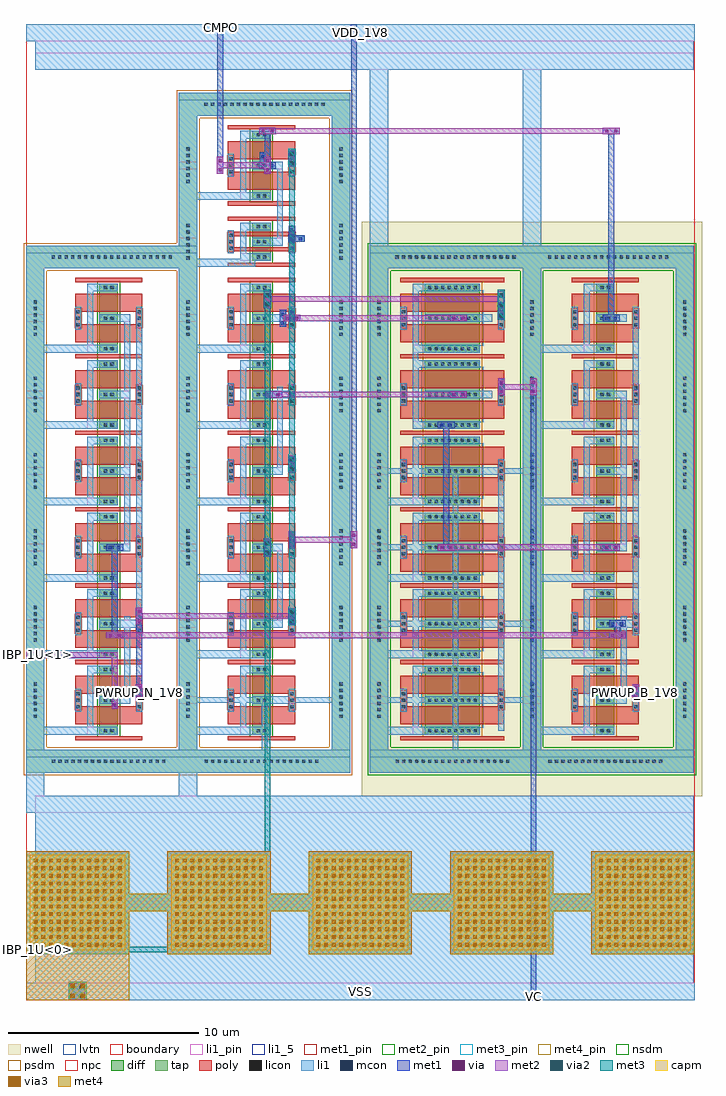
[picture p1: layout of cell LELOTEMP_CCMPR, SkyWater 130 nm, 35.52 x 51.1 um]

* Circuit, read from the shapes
.subckt LELOTEMP_CCMPR CMPO IBP_1U<0> IBP_1U<1> PWRUP_B_1V8 PWRUP_N_1V8 RST VC VDD_1V8 VSS
XM1 IBP_1U<1> PWRUP_N_1V8 VSS VSS sky130_fd_pr__nfet_01v8 w=0.96 l=0.94 m=2
XM2 IBP_1U<1> IBP_1U<1> VSS VSS sky130_fd_pr__nfet_01v8 w=0.96 l=0.94 m=2
XM3 LELOTEMP_CCMPR_CMP_1/LELOTEMP_CMPR_0/LELOTEMP_CMPR_N_MIRR_BIAS_0/VBP2 IBP_1U<1> VSS VSS sky130_fd_pr__nfet_01v8 w=0.96 l=0.94 m=8
XM4 VSS VSS VSS VSS sky130_fd_pr__nfet_01v8 w=0.96 l=0.94 m=2
XM5 IBP_1U<0> PWRUP_N_1V8 VSS VSS sky130_fd_pr__nfet_01v8 w=0.96 l=0.94 m=2
XM6 IBP_1U<0> RST VSS VSS sky130_fd_pr__nfet_01v8 w=0.96 l=0.94 m=2
XM7 LELOTEMP_CCMPR_CMP_1/LELOTEMP_CMPR_0/LELOTEMP_CMPR_N_MIRR_LOAD_1/VBN1 PWRUP_N_1V8 VSS VSS sky130_fd_pr__nfet_01v8 w=0.96 l=0.94 m=2
XM8 LELOTEMP_CCMPR_CMP_1/LELOTEMP_CMPR_0/LELOTEMP_CMPR_N_MIRR_LOAD_1/VBN1 LELOTEMP_CCMPR_CMP_1/LELOTEMP_CMPR_0/LELOTEMP_CMPR_N_MIRR_LOAD_1/VBN1 VSS VSS sky130_fd_pr__nfet_01v8 w=0.96 l=0.94 m=2
XM9 LELOTEMP_CCMPR_CMP_1/LELOTEMP_CMPR_0/LELOTEMP_CMPR_N_MIRR_LOAD_1/VO1 LELOTEMP_CCMPR_CMP_1/LELOTEMP_CMPR_0/LELOTEMP_CMPR_N_MIRR_LOAD_1/VBN1 VSS VSS sky130_fd_pr__nfet_01v8 w=0.96 l=0.94 m=2
XM10 CMPO LELOTEMP_CCMPR_CMP_1/LELOTEMP_CMPR_0/LELOTEMP_CMPR_N_MIRR_LOAD_1/VO1 VSS VSS sky130_fd_pr__nfet_01v8 w=0.96 l=0.22 m=2
XM11 CMPO PWRUP_N_1V8 VSS VSS sky130_fd_pr__nfet_01v8 w=0.96 l=0.94 m=2
XM12 VDD_1V8 VDD_1V8 VDD_1V8 VDD_1V8 sky130_fd_pr__pfet_01v8_lvt w=2.88 l=0.94 m=8
XM13 LELOTEMP_CCMPR_CMP_1/LELOTEMP_CMPR_0/LELOTEMP_CMPR_N_MIRR_LOAD_1/VBN1 VC LELOTEMP_CCMPR_CMP_1/LELOTEMP_CMPR_0/LELOTEMP_CMPR_P_DIFF_2/VS VDD_1V8 sky130_fd_pr__pfet_01v8_lvt w=2.88 l=0.94 m=2
XM14 LELOTEMP_CCMPR_CMP_1/LELOTEMP_CMPR_0/LELOTEMP_CMPR_N_MIRR_LOAD_1/VO1 IBP_1U<0> LELOTEMP_CCMPR_CMP_1/LELOTEMP_CMPR_0/LELOTEMP_CMPR_P_DIFF_2/VS VDD_1V8 sky130_fd_pr__pfet_01v8_lvt w=2.88 l=0.94 m=2
XM15 LELOTEMP_CCMPR_CMP_1/LELOTEMP_CMPR_0/LELOTEMP_CMPR_N_MIRR_BIAS_0/VBP2 PWRUP_B_1V8 VDD_1V8 VDD_1V8 sky130_fd_pr__pfet_01v8 w=0.96 l=0.94 m=2
XM16 LELOTEMP_CCMPR_CMP_1/LELOTEMP_CMPR_0/LELOTEMP_CMPR_N_MIRR_BIAS_0/VBP2 LELOTEMP_CCMPR_CMP_1/LELOTEMP_CMPR_0/LELOTEMP_CMPR_N_MIRR_BIAS_0/VBP2 VDD_1V8 VDD_1V8 sky130_fd_pr__pfet_01v8 w=0.96 l=0.94 m=2
XM17 LELOTEMP_CCMPR_CMP_1/LELOTEMP_CMPR_0/LELOTEMP_CMPR_P_DIFF_2/VS LELOTEMP_CCMPR_CMP_1/LELOTEMP_CMPR_0/LELOTEMP_CMPR_N_MIRR_BIAS_0/VBP2 VDD_1V8 VDD_1V8 sky130_fd_pr__pfet_01v8 w=0.96 l=0.94 m=6
XM18 CMPO LELOTEMP_CCMPR_CMP_1/LELOTEMP_CMPR_0/LELOTEMP_CMPR_N_MIRR_BIAS_0/VBP2 VDD_1V8 VDD_1V8 sky130_fd_pr__pfet_01v8 w=0.96 l=0.94 m=2
XC19 VSS IBP_1U<0> sky130_fd_pr__cap_mim_m3_1 w=5 l=5 m=5
.ends

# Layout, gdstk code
import gdstk
lib = gdstk.Library(unit=1e-6, precision=1e-09)
def R(c, l, rs):  # rectangles x0, y0, x1, y1
    for r in rs: c.add(gdstk.rectangle(r[:2], r[2:], *l))
def A(c, l, x, y, w, h, nx, ny, dx, dy):  # array of equal rectangles
    R(c, l, [(x+i*dx, y+j*dy, x+i*dx+w, y+j*dy+h) for i in range(nx) for j in range(ny)])
nwell = (64, 20)
diff = (65, 20)
tap = (65, 44)
poly = (66, 20)
licon = (66, 44)
li1_5 = (67, 5)
li1_pin = (67, 16)
li1 = (67, 20)
mcon = (67, 44)
met1_pin = (68, 16)
met1 = (68, 20)
via = (68, 44)
met2_pin = (69, 16)
met2 = (69, 20)
via2 = (69, 44)
met3_pin = (70, 16)
met3 = (70, 20)
via3 = (70, 44)
met4_pin = (71, 16)
met4 = (71, 20)
capm = (89, 44)
nsdm = (93, 44)
psdm = (94, 20)
npc = (95, 20)
lvtn = (125, 44)
boundary = (235, 4)

jnwtr_capx1 = lib.new_cell('JNWTR_CAPX1')
R(jnwtr_capx1, met3_pin, [(0,0,5.4,0.5)])
R(jnwtr_capx1, met3, [(0,0,5.4,5.4)])
A(jnwtr_capx1, via3, 0.4, 0.4, 0.2, 0.2, 12, 12, 0.4, 0.4)
R(jnwtr_capx1, met4_pin, [(0,0,5.4,0.5)])
R(jnwtr_capx1, met4, [(0,0,5.4,5.4)])
R(jnwtr_capx1, capm, [(0.2,0.2,5.2,5.2)])
R(jnwtr_capx1, boundary, [(0,0,5.4,5.4)])
jnwtr_capx1.add(gdstk.Label('A', (2.7,0.25), layer=70, texttype=5))
jnwtr_capx1.add(gdstk.Label('B', (2.7,0.25), layer=71, texttype=5))

lelotemp_ccmpr_caps = lib.new_cell('LELOTEMP_CCMPR_CAPS')
R(lelotemp_ccmpr_caps, met3_pin, [(0,0,5.4,0.5)])
R(lelotemp_ccmpr_caps, met3, [(0,0,5.4,0.5), (2,2.25,33,3.15)])
R(lelotemp_ccmpr_caps, met4_pin, [(0,0,5.4,0.5)])
R(lelotemp_ccmpr_caps, met4, [(0,0,5.4,0.5), (2,2.25,33,3.15)])
R(lelotemp_ccmpr_caps, boundary, [(0,0,35,5.4)])
lelotemp_ccmpr_caps.add(gdstk.Reference(jnwtr_capx1, (0,0)))
lelotemp_ccmpr_caps.add(gdstk.Reference(jnwtr_capx1, (7.4,0)))
lelotemp_ccmpr_caps.add(gdstk.Reference(jnwtr_capx1, (14.8,0)))
lelotemp_ccmpr_caps.add(gdstk.Reference(jnwtr_capx1, (22.2,0)))
lelotemp_ccmpr_caps.add(gdstk.Reference(jnwtr_capx1, (29.6,0)))
lelotemp_ccmpr_caps.add(gdstk.Label('IBP_1U<0>', (2.7,0.25), layer=70, texttype=5))
lelotemp_ccmpr_caps.add(gdstk.Label('VSS', (2.7,0.25), layer=71, texttype=5))

reyatr_nch_2ctaptop = lib.new_cell('REYATR_NCH_2CTAPTOP')
R(reyatr_nch_2ctaptop, tap, [(-0.48,-0.2,0.48,0.6), (7.52,-0.2,8.48,0.6), (-0.48,0.6,8.48,1.8)])
A(reyatr_nch_2ctaptop, licon, 0.855, 1.115, 0.17, 0.17, 19, 1, 0.34, 0)
R(reyatr_nch_2ctaptop, li1_5, [(-0.48,1.4,8.48,1.8)])
R(reyatr_nch_2ctaptop, li1, [(-0.48,-0.2,0.48,0.6), (7.52,-0.2,8.48,0.6), (-0.48,0.6,8.48,1.8)])
R(reyatr_nch_2ctaptop, psdm, [(-0.605,-0.325,0.605,0.475), (7.395,-0.325,8.605,0.475), (-0.605,0.475,8.605,1.925)])
R(reyatr_nch_2ctaptop, boundary, [(0,0,8,2.4)])
reyatr_nch_2ctaptop.add(gdstk.Label('B', (4,1.6), layer=67, texttype=5))

reyatr_nch_2ctapbot = lib.new_cell('REYATR_NCH_2CTAPBOT')
R(reyatr_nch_2ctapbot, tap, [(-0.48,0.6,8.48,1.8), (-0.48,1.8,0.48,2.6), (7.52,1.8,8.48,2.6)])
A(reyatr_nch_2ctapbot, licon, 0.865, 1.115, 0.17, 0.17, 18, 1, 0.34, 0)
R(reyatr_nch_2ctapbot, li1_5, [(-0.48,1.4,8.48,1.8)])
R(reyatr_nch_2ctapbot, li1, [(-0.48,0.6,8.48,1.8), (-0.48,1.8,0.48,2.6), (7.52,1.8,8.48,2.6)])
R(reyatr_nch_2ctapbot, psdm, [(-0.605,0.475,8.605,1.925), (-0.605,1.925,0.605,2.725), (7.395,1.925,8.605,2.725)])
R(reyatr_nch_2ctapbot, boundary, [(0,0,8,2.4)])
reyatr_nch_2ctapbot.add(gdstk.Label('B', (4,1.6), layer=67, texttype=5))

reyatr_nch_2c5f0 = lib.new_cell('REYATR_NCH_2C5F0')
R(reyatr_nch_2c5f0, diff, [(3.36,0.2,4.32,3.8)])
R(reyatr_nch_2c5f0, tap, [(-0.48,-0.2,0.48,4.2), (7.52,-0.2,8.48,4.2)])
R(reyatr_nch_2c5f0, poly, [(2.08,-0.11,5.6,0.11), (2.08,0.73,5.6,1.67), (2.08,1.67,2.4,2.33), (5.28,1.67,5.6,2.33), (2.08,2.33,5.6,3.27), (2.08,3.89,5.6,4.11)])
A(reyatr_nch_2c5f0, licon, 3.585, 0.315, 0.17, 0.17, 1, 3, 0, 1.6)
A(reyatr_nch_2c5f0, licon, 3.925, 0.315, 0.17, 0.17, 1, 3, 0, 1.6)
A(reyatr_nch_2c5f0, licon, -0.085, 1.065, 0.17, 0.17, 1, 6, 0, 0.34)
A(reyatr_nch_2c5f0, licon, 7.915, 1.065, 0.17, 0.17, 1, 6, 0, 0.34)
A(reyatr_nch_2c5f0, licon, 2.155, 1.575, 0.17, 0.17, 1, 3, 0, 0.34)
A(reyatr_nch_2c5f0, licon, 5.355, 1.575, 0.17, 0.17, 1, 3, 0, 0.34)
R(reyatr_nch_2c5f0, li1_pin, [(2.72,0.2,4.32,0.6), (-0.48,1.8,0.48,2.2), (3.36,1.8,4.96,2.2), (5.28,2.2,5.6,2.6)])
R(reyatr_nch_2c5f0, li1, [(-0.48,-0.2,0.48,4.2), (7.52,-0.2,8.48,4.2), (2.72,0.2,4.32,0.6), (2.72,0.6,3.04,3.4), (2.08,1.4,2.4,2.6), (5.28,1.4,5.6,2.6), (3.36,1.8,4.96,2.2), (2.72,3.4,4.32,3.8)])
R(reyatr_nch_2c5f0, nsdm, [(3.235,0.075,4.445,3.925)])
R(reyatr_nch_2c5f0, psdm, [(-0.605,-0.325,0.605,4.325), (7.395,-0.325,8.605,4.325)])
R(reyatr_nch_2c5f0, npc, [(2.055,1.475,2.425,2.525), (5.255,1.475,5.625,2.525)])
R(reyatr_nch_2c5f0, boundary, [(0,0,8,4)])
reyatr_nch_2c5f0.add(gdstk.Label('D', (4.16,2), layer=67, texttype=5))
reyatr_nch_2c5f0.add(gdstk.Label('G', (5.44,2.4), layer=67, texttype=5))
reyatr_nch_2c5f0.add(gdstk.Label('S', (3.52,0.4), layer=67, texttype=5))
reyatr_nch_2c5f0.add(gdstk.Label('B', (0,2), layer=67, texttype=5))

reyatr_nch_2c5f0d = lib.new_cell('REYATR_NCH_2C5F0D')
R(reyatr_nch_2c5f0d, diff, [(3.36,0.2,4.32,3.8)])
R(reyatr_nch_2c5f0d, tap, [(-0.48,-0.2,0.48,4.2), (7.52,-0.2,8.48,4.2)])
R(reyatr_nch_2c5f0d, poly, [(2.08,-0.11,5.6,0.11), (2.08,0.73,5.6,1.67), (2.08,1.67,2.4,2.33), (5.28,1.67,5.6,2.33), (2.08,2.33,5.6,3.27), (2.08,3.89,5.6,4.11)])
A(reyatr_nch_2c5f0d, licon, 3.585, 0.315, 0.17, 0.17, 1, 3, 0, 1.6)
A(reyatr_nch_2c5f0d, licon, 3.925, 0.315, 0.17, 0.17, 1, 3, 0, 1.6)
A(reyatr_nch_2c5f0d, licon, -0.085, 1.065, 0.17, 0.17, 1, 6, 0, 0.34)
A(reyatr_nch_2c5f0d, licon, 7.915, 1.065, 0.17, 0.17, 1, 6, 0, 0.34)
A(reyatr_nch_2c5f0d, licon, 2.155, 1.575, 0.17, 0.17, 1, 3, 0, 0.34)
A(reyatr_nch_2c5f0d, licon, 5.355, 1.575, 0.17, 0.17, 1, 3, 0, 0.34)
R(reyatr_nch_2c5f0d, li1_pin, [(2.72,0.2,4.32,0.6), (-0.48,1.8,0.48,2.2), (3.36,1.8,5.6,2.2), (5.28,2.2,5.6,2.6)])
R(reyatr_nch_2c5f0d, li1, [(-0.48,-0.2,0.48,4.2), (7.52,-0.2,8.48,4.2), (2.72,0.2,4.32,0.6), (2.72,0.6,3.04,3.4), (2.08,1.4,2.4,2.6), (5.28,1.4,5.6,1.8), (3.36,1.8,5.6,2.2), (5.28,2.2,5.6,2.6), (2.72,3.4,4.32,3.8)])
R(reyatr_nch_2c5f0d, nsdm, [(3.235,0.075,4.445,3.925)])
R(reyatr_nch_2c5f0d, psdm, [(-0.605,-0.325,0.605,4.325), (7.395,-0.325,8.605,4.325)])
R(reyatr_nch_2c5f0d, npc, [(2.055,1.475,2.425,2.525), (5.255,1.475,5.625,2.525)])
R(reyatr_nch_2c5f0d, boundary, [(0,0,8,4)])
reyatr_nch_2c5f0d.add(gdstk.Label('D', (4.48,2), layer=67, texttype=5))
reyatr_nch_2c5f0d.add(gdstk.Label('G', (5.44,2.4), layer=67, texttype=5))
reyatr_nch_2c5f0d.add(gdstk.Label('S', (3.52,0.4), layer=67, texttype=5))
reyatr_nch_2c5f0d.add(gdstk.Label('B', (0,2), layer=67, texttype=5))

lelotemp_cmpr_n_mirr_bia = lib.new_cell('LELOTEMP_CMPR_N_MIRR_BIAS')
R(lelotemp_cmpr_n_mirr_bia, li1_pin, [(-0.48,4.2,0.48,4.6), (3.36,4.2,4.96,4.6), (5.28,4.6,5.6,5), (3.36,12.2,4.96,12.6)])
A(lelotemp_cmpr_n_mirr_bia, li1, 0, 2.6, 3.52, 0.4, 1, 6, 0, 4)
R(lelotemp_cmpr_n_mirr_bia, li1, [(-0.48,4.2,0.48,4.6), (3.36,4.2,4.96,4.6), (4.66,4.6,4.96,8.8), (5.28,4.6,5.6,5), (5.29,8.4,5.59,24.8), (3.36,12.2,4.96,12.6), (4.66,12.6,4.96,24.6)])
A(lelotemp_cmpr_n_mirr_bia, nsdm, 3.235, 6.325, 1.21, 0.15, 1, 5, 0, 4)
R(lelotemp_cmpr_n_mirr_bia, boundary, [(0,0,8,28.8)])
lelotemp_cmpr_n_mirr_bia.add(gdstk.Reference(reyatr_nch_2ctaptop, (0,26.4)))
lelotemp_cmpr_n_mirr_bia.add(gdstk.Reference(reyatr_nch_2ctapbot, (0,0)))
lelotemp_cmpr_n_mirr_bia.add(gdstk.Reference(reyatr_nch_2c5f0, (0,22.4)))
lelotemp_cmpr_n_mirr_bia.add(gdstk.Reference(reyatr_nch_2c5f0, (0,18.4)))
lelotemp_cmpr_n_mirr_bia.add(gdstk.Reference(reyatr_nch_2c5f0, (0,14.4)))
lelotemp_cmpr_n_mirr_bia.add(gdstk.Reference(reyatr_nch_2c5f0, (0,10.4)))
lelotemp_cmpr_n_mirr_bia.add(gdstk.Reference(reyatr_nch_2c5f0d, (0,6.4)))
lelotemp_cmpr_n_mirr_bia.add(gdstk.Reference(reyatr_nch_2c5f0, (0,2.4)))
lelotemp_cmpr_n_mirr_bia.add(gdstk.Label('IBP_1U', (4.16,4.4), layer=67, texttype=5))
lelotemp_cmpr_n_mirr_bia.add(gdstk.Label('PWRUP_N_1V8', (5.44,4.8), layer=67, texttype=5))
lelotemp_cmpr_n_mirr_bia.add(gdstk.Label('VBP2', (4.16,12.4), layer=67, texttype=5))
lelotemp_cmpr_n_mirr_bia.add(gdstk.Label('VSS', (0,4.4), layer=67, texttype=5))

reyatr_nch_2c1f2 = lib.new_cell('REYATR_NCH_2C1F2')
R(reyatr_nch_2c1f2, diff, [(3.36,1,4.32,3)])
R(reyatr_nch_2c1f2, tap, [(-0.48,-0.2,0.48,4.2), (7.52,-0.2,8.48,4.2)])
A(reyatr_nch_2c1f2, poly, 2.08, -0.11, 3.52, 0.22, 1, 6, 0, 0.8)
R(reyatr_nch_2c1f2, poly, [(2.08,1.4,2.4,1.49), (5.28,1.4,5.6,1.49), (2.08,1.71,2.4,2.29), (5.28,1.71,5.6,2.29), (2.08,2.51,2.4,2.6), (5.28,2.51,5.6,2.6)])
A(reyatr_nch_2c1f2, licon, -0.085, 1.065, 0.17, 0.17, 1, 6, 0, 0.34)
A(reyatr_nch_2c1f2, licon, 7.915, 1.065, 0.17, 0.17, 1, 6, 0, 0.34)
A(reyatr_nch_2c1f2, licon, 3.585, 1.115, 0.17, 0.17, 1, 3, 0, 0.8)
A(reyatr_nch_2c1f2, licon, 3.925, 1.115, 0.17, 0.17, 1, 3, 0, 0.8)
A(reyatr_nch_2c1f2, licon, 2.155, 1.575, 0.17, 0.17, 1, 3, 0, 0.34)
A(reyatr_nch_2c1f2, licon, 5.355, 1.575, 0.17, 0.17, 1, 3, 0, 0.34)
R(reyatr_nch_2c1f2, li1_pin, [(2.72,1,4.32,1.4), (-0.48,1.8,0.48,2.2), (3.36,1.8,4.96,2.2), (5.28,2.2,5.6,2.6)])
R(reyatr_nch_2c1f2, li1, [(-0.48,-0.2,0.48,4.2), (7.52,-0.2,8.48,4.2), (2.72,1,4.32,1.4), (2.08,1.4,2.4,2.6), (2.72,1.4,3.04,2.6), (5.28,1.4,5.6,2.6), (3.36,1.8,4.96,2.2), (2.72,2.6,4.32,3)])
R(reyatr_nch_2c1f2, nsdm, [(3.235,0.875,4.445,3.125)])
R(reyatr_nch_2c1f2, psdm, [(-0.605,-0.325,0.605,4.325), (7.395,-0.325,8.605,4.325)])
R(reyatr_nch_2c1f2, npc, [(2.055,1.475,2.425,2.525), (5.255,1.475,5.625,2.525)])
R(reyatr_nch_2c1f2, boundary, [(0,0,8,4)])
reyatr_nch_2c1f2.add(gdstk.Label('D', (4.16,2), layer=67, texttype=5))
reyatr_nch_2c1f2.add(gdstk.Label('G', (5.44,2.4), layer=67, texttype=5))
reyatr_nch_2c1f2.add(gdstk.Label('S', (3.52,1.2), layer=67, texttype=5))
reyatr_nch_2c1f2.add(gdstk.Label('B', (0,2), layer=67, texttype=5))

lelotemp_cmpr_n_mirr_loa = lib.new_cell('LELOTEMP_CMPR_N_MIRR_LOAD')
R(lelotemp_cmpr_n_mirr_loa, li1_pin, [(-0.48,4.2,0.48,4.6), (5.28,8.6,5.6,9), (3.36,12.2,4.96,12.6), (5.28,12.6,5.6,13), (3.36,20.2,5.6,20.6), (5.28,28.6,5.6,29), (3.36,32.2,4.96,32.6)])
A(lelotemp_cmpr_n_mirr_loa, li1, 0, 2.6, 3.52, 0.4, 1, 6, 0, 4)
R(lelotemp_cmpr_n_mirr_loa, li1, [(3.85,1.2,4.15,4.25), (-0.48,4.2,0.48,4.25), (-0.48,4.25,8,4.55), (-0.48,4.55,0.48,4.6), (4.66,8.2,4.96,12.2), (5.25,8.32,5.57,8.6), (5.25,8.6,5.6,9), (5.25,9,5.57,9.16), (3.36,12.2,4.96,12.6), (5.28,12.6,5.6,13), (5.25,16.32,5.57,17.16), (4.66,16.4,4.96,20.2), (3.36,20.2,5.6,20.6), (4.66,20.6,4.96,20.8), (5.29,20.6,5.59,24.8), (4.79,23.96,5.11,24.8), (0,27.1,3.52,27.5), (4.66,28.2,4.96,32.2), (5.27,28.36,5.59,28.6), (5.27,28.6,5.6,29), (5.27,29,5.59,29.2), (0,30.6,3.52,31), (3.36,32.2,4.96,32.6), (5.25,32.32,5.57,33.16)])
R(lelotemp_cmpr_n_mirr_loa, mcon, [(5.325,8.425,5.495,8.595), (5.325,8.885,5.495,9.055), (5.325,16.425,5.495,16.595), (5.325,16.885,5.495,17.055), (4.865,24.065,5.035,24.235), (4.865,24.525,5.035,24.695), (5.345,28.465,5.515,28.635), (5.345,28.925,5.515,29.095), (5.325,32.425,5.495,32.595), (5.325,32.885,5.495,33.055)])
R(lelotemp_cmpr_n_mirr_loa, met1, [(5.25,8.32,5.59,9.2), (5.25,16.32,5.59,17.2), (4.79,23.96,5.13,24.25), (4.79,24.25,5.59,24.55), (4.79,24.55,5.13,24.84), (5.29,24.55,5.59,28.36), (5.27,28.36,5.61,29.24), (5.25,32.32,5.59,33.2)])
R(lelotemp_cmpr_n_mirr_loa, via, [(5.345,8.445,5.495,8.595), (5.345,8.925,5.495,9.075), (5.345,16.445,5.495,16.595), (5.345,16.925,5.495,17.075), (5.345,32.445,5.495,32.595), (5.345,32.925,5.495,33.075)])
R(lelotemp_cmpr_n_mirr_loa, met2, [(5.25,8.32,5.59,9.2), (5.25,16.32,5.59,17.2), (5.25,32.32,5.59,33.2)])
R(lelotemp_cmpr_n_mirr_loa, via2, [(5.32,8.42,5.52,8.62), (5.32,8.9,5.52,9.1), (5.32,16.42,5.52,16.62), (5.32,16.9,5.52,17.1), (5.32,32.42,5.52,32.62), (5.32,32.9,5.52,33.1)])
R(lelotemp_cmpr_n_mirr_loa, met3, [(5.25,8.32,5.63,9.28), (5.29,9.28,5.59,16.32), (5.25,16.32,5.63,17.28), (5.29,17.28,5.59,32.32), (5.25,32.32,5.63,33.28)])
A(lelotemp_cmpr_n_mirr_loa, nsdm, 3.235, 6.325, 1.21, 0.15, 1, 5, 0, 4)
R(lelotemp_cmpr_n_mirr_loa, boundary, [(0,0,8,36.8)])
lelotemp_cmpr_n_mirr_loa.add(gdstk.Reference(reyatr_nch_2ctapbot, (0,0)))
lelotemp_cmpr_n_mirr_loa.add(gdstk.Reference(reyatr_nch_2c5f0d, (0,2.4)))
lelotemp_cmpr_n_mirr_loa.add(gdstk.Reference(reyatr_nch_2c5f0, (0,10.4)))
lelotemp_cmpr_n_mirr_loa.add(gdstk.Reference(reyatr_nch_2c5f0, (0,6.4)))
lelotemp_cmpr_n_mirr_loa.add(gdstk.Reference(reyatr_nch_2c5f0, (0,14.4)))
lelotemp_cmpr_n_mirr_loa.add(gdstk.Reference(reyatr_nch_2c5f0d, (0,18.4)))
lelotemp_cmpr_n_mirr_loa.add(gdstk.Reference(reyatr_nch_2c5f0, (0,22.4)))
lelotemp_cmpr_n_mirr_loa.add(gdstk.Reference(reyatr_nch_2c1f2, (0,26.4)))
lelotemp_cmpr_n_mirr_loa.add(gdstk.Reference(reyatr_nch_2c5f0, (0,30.4)))
lelotemp_cmpr_n_mirr_loa.add(gdstk.Reference(reyatr_nch_2ctaptop, (0,34.4)))
lelotemp_cmpr_n_mirr_loa.add(gdstk.Label('PWRUP_N_1V8', (5.44,8.8), layer=67, texttype=5))
lelotemp_cmpr_n_mirr_loa.add(gdstk.Label('RST', (5.44,12.8), layer=67, texttype=5))
lelotemp_cmpr_n_mirr_loa.add(gdstk.Label('VBN1', (4.48,20.4), layer=67, texttype=5))
lelotemp_cmpr_n_mirr_loa.add(gdstk.Label('VIP', (4.16,12.4), layer=67, texttype=5))
lelotemp_cmpr_n_mirr_loa.add(gdstk.Label('VO', (4.16,32.4), layer=67, texttype=5))
lelotemp_cmpr_n_mirr_loa.add(gdstk.Label('VO1', (5.44,28.8), layer=67, texttype=5))
lelotemp_cmpr_n_mirr_loa.add(gdstk.Label('VSS', (0,4.4), layer=67, texttype=5))

reyatr_lvt_pch_8c5f0d = lib.new_cell('REYATR_LVT_PCH_8C5F0D')
R(reyatr_lvt_pch_8c5f0d, nwell, [(-0.92,-0.64,8.92,4.64)])
R(reyatr_lvt_pch_8c5f0d, diff, [(2.4,0.2,5.28,3.8)])
R(reyatr_lvt_pch_8c5f0d, tap, [(-0.48,-0.2,0.48,4.2), (7.52,-0.2,8.48,4.2)])
R(reyatr_lvt_pch_8c5f0d, poly, [(1.12,-0.11,6.56,0.11), (1.12,0.73,6.56,1.67), (1.12,1.67,1.44,2.33), (6.24,1.67,6.56,2.33), (1.12,2.33,6.56,3.27), (1.12,3.89,6.56,4.11)])
A(reyatr_lvt_pch_8c5f0d, licon, 2.565, 0.315, 0.17, 0.17, 8, 3, 0.34, 1.6)
A(reyatr_lvt_pch_8c5f0d, licon, -0.085, 1.065, 0.17, 0.17, 1, 6, 0, 0.34)
A(reyatr_lvt_pch_8c5f0d, licon, 7.915, 1.065, 0.17, 0.17, 1, 6, 0, 0.34)
A(reyatr_lvt_pch_8c5f0d, licon, 1.195, 1.575, 0.17, 0.17, 1, 3, 0, 0.34)
A(reyatr_lvt_pch_8c5f0d, licon, 6.315, 1.575, 0.17, 0.17, 1, 3, 0, 0.34)
R(reyatr_lvt_pch_8c5f0d, li1_pin, [(1.76,0.2,5.28,0.6), (-0.48,1.8,0.48,2.2), (2.4,1.8,6.56,2.2), (6.24,2.2,6.56,2.6)])
R(reyatr_lvt_pch_8c5f0d, li1, [(-0.48,-0.2,0.48,4.2), (7.52,-0.2,8.48,4.2), (1.76,0.2,5.28,0.6), (1.76,0.6,2.08,3.4), (1.12,1.4,1.44,2.6), (6.24,1.4,6.56,1.8), (2.4,1.8,6.56,2.2), (6.24,2.2,6.56,2.6), (1.76,3.4,5.28,3.8)])
R(reyatr_lvt_pch_8c5f0d, nsdm, [(-0.605,-0.325,0.605,4.325), (7.395,-0.325,8.605,4.325)])
R(reyatr_lvt_pch_8c5f0d, psdm, [(2.275,0.075,5.405,3.925)])
R(reyatr_lvt_pch_8c5f0d, npc, [(1.095,1.475,1.465,2.525), (6.215,1.475,6.585,2.525)])
R(reyatr_lvt_pch_8c5f0d, lvtn, [(2.22,0.55,5.46,3.45)])
R(reyatr_lvt_pch_8c5f0d, boundary, [(0,0,8,4)])
reyatr_lvt_pch_8c5f0d.add(gdstk.Label('D', (4.48,2), layer=67, texttype=5))
reyatr_lvt_pch_8c5f0d.add(gdstk.Label('G', (6.4,2.4), layer=67, texttype=5))
reyatr_lvt_pch_8c5f0d.add(gdstk.Label('S', (3.52,0.4), layer=67, texttype=5))
reyatr_lvt_pch_8c5f0d.add(gdstk.Label('B', (0,2), layer=67, texttype=5))

reyatr_lvt_pch_8c5f0 = lib.new_cell('REYATR_LVT_PCH_8C5F0')
R(reyatr_lvt_pch_8c5f0, nwell, [(-0.92,-0.64,8.92,4.64)])
R(reyatr_lvt_pch_8c5f0, diff, [(2.4,0.2,5.28,3.8)])
R(reyatr_lvt_pch_8c5f0, tap, [(-0.48,-0.2,0.48,4.2), (7.52,-0.2,8.48,4.2)])
R(reyatr_lvt_pch_8c5f0, poly, [(1.12,-0.11,6.56,0.11), (1.12,0.73,6.56,1.67), (1.12,1.67,1.44,2.33), (6.24,1.67,6.56,2.33), (1.12,2.33,6.56,3.27), (1.12,3.89,6.56,4.11)])
A(reyatr_lvt_pch_8c5f0, licon, 2.565, 0.315, 0.17, 0.17, 8, 3, 0.34, 1.6)
A(reyatr_lvt_pch_8c5f0, licon, -0.085, 1.065, 0.17, 0.17, 1, 6, 0, 0.34)
A(reyatr_lvt_pch_8c5f0, licon, 7.915, 1.065, 0.17, 0.17, 1, 6, 0, 0.34)
A(reyatr_lvt_pch_8c5f0, licon, 1.195, 1.575, 0.17, 0.17, 1, 3, 0, 0.34)
A(reyatr_lvt_pch_8c5f0, licon, 6.315, 1.575, 0.17, 0.17, 1, 3, 0, 0.34)
R(reyatr_lvt_pch_8c5f0, li1_pin, [(1.76,0.2,5.28,0.6), (-0.48,1.8,0.48,2.2), (2.4,1.8,5.92,2.2), (6.24,2.2,6.56,2.6)])
R(reyatr_lvt_pch_8c5f0, li1, [(-0.48,-0.2,0.48,4.2), (7.52,-0.2,8.48,4.2), (1.76,0.2,5.28,0.6), (1.76,0.6,2.08,3.4), (1.12,1.4,1.44,2.6), (6.24,1.4,6.56,2.6), (2.4,1.8,5.92,2.2), (1.76,3.4,5.28,3.8)])
R(reyatr_lvt_pch_8c5f0, nsdm, [(-0.605,-0.325,0.605,4.325), (7.395,-0.325,8.605,4.325)])
R(reyatr_lvt_pch_8c5f0, psdm, [(2.275,0.075,5.405,3.925)])
R(reyatr_lvt_pch_8c5f0, npc, [(1.095,1.475,1.465,2.525), (6.215,1.475,6.585,2.525)])
R(reyatr_lvt_pch_8c5f0, lvtn, [(2.22,0.55,5.46,3.45)])
R(reyatr_lvt_pch_8c5f0, boundary, [(0,0,8,4)])
reyatr_lvt_pch_8c5f0.add(gdstk.Label('D', (4.16,2), layer=67, texttype=5))
reyatr_lvt_pch_8c5f0.add(gdstk.Label('G', (6.4,2.4), layer=67, texttype=5))
reyatr_lvt_pch_8c5f0.add(gdstk.Label('S', (3.52,0.4), layer=67, texttype=5))
reyatr_lvt_pch_8c5f0.add(gdstk.Label('B', (0,2), layer=67, texttype=5))

reyatr_pch_8ctapbot = lib.new_cell('REYATR_PCH_8CTAPBOT')
R(reyatr_pch_8ctapbot, nwell, [(-0.92,-0.64,8.92,3.04)])
R(reyatr_pch_8ctapbot, tap, [(-0.48,0.6,8.48,1.8), (-0.48,1.8,0.48,2.6), (7.52,1.8,8.48,2.6)])
A(reyatr_pch_8ctapbot, licon, 0.865, 1.115, 0.17, 0.17, 18, 1, 0.34, 0)
R(reyatr_pch_8ctapbot, li1_5, [(-0.48,1.4,8.48,1.8)])
R(reyatr_pch_8ctapbot, li1, [(-0.48,0.6,8.48,1.8), (-0.48,1.8,0.48,2.6), (7.52,1.8,8.48,2.6)])
R(reyatr_pch_8ctapbot, nsdm, [(-0.605,0.475,8.605,1.925), (-0.605,1.925,0.605,2.725), (7.395,1.925,8.605,2.725)])
R(reyatr_pch_8ctapbot, boundary, [(0,0,8,2.4)])
reyatr_pch_8ctapbot.add(gdstk.Label('B', (4,1.6), layer=67, texttype=5))

reyatr_pch_8ctaptop = lib.new_cell('REYATR_PCH_8CTAPTOP')
R(reyatr_pch_8ctaptop, nwell, [(-0.92,-0.64,8.92,3.04)])
R(reyatr_pch_8ctaptop, tap, [(-0.48,-0.2,0.48,0.6), (7.52,-0.2,8.48,0.6), (-0.48,0.6,8.48,1.8)])
A(reyatr_pch_8ctaptop, licon, 0.855, 1.115, 0.17, 0.17, 19, 1, 0.34, 0)
R(reyatr_pch_8ctaptop, li1_5, [(-0.48,1.4,8.48,1.8)])
R(reyatr_pch_8ctaptop, li1, [(-0.48,-0.2,0.48,0.6), (7.52,-0.2,8.48,0.6), (-0.48,0.6,8.48,1.8)])
R(reyatr_pch_8ctaptop, nsdm, [(-0.605,-0.325,0.605,0.475), (7.395,-0.325,8.605,0.475), (-0.605,0.475,8.605,1.925)])
R(reyatr_pch_8ctaptop, boundary, [(0,0,8,2.4)])
reyatr_pch_8ctaptop.add(gdstk.Label('B', (4,1.6), layer=67, texttype=5))

lelotemp_cmpr_p_diff = lib.new_cell('LELOTEMP_CMPR_P_DIFF')
R(lelotemp_cmpr_p_diff, li1_pin, [(1.76,18.6,5.28,19), (2.4,20.2,5.92,20.6), (6.24,20.6,6.56,21), (-0.48,24.2,0.48,24.6), (2.4,24.2,5.92,24.6), (6.24,24.6,6.56,25)])
A(lelotemp_cmpr_p_diff, li1, 0, 2.6, 3.52, 0.4, 1, 4, 0, 4)
A(lelotemp_cmpr_p_diff, li1, 0.18, 3, 0.3, 1.25, 1, 4, 0, 4)
A(lelotemp_cmpr_p_diff, li1, 0, 4.25, 8, 0.3, 1, 4, 0, 4)
A(lelotemp_cmpr_p_diff, li1, 0.18, 4.55, 0.3, 2.05, 1, 3, 0, 4)
A(lelotemp_cmpr_p_diff, li1, 3.85, 4.55, 0.3, 3.7, 1, 3, 0, 4)
A(lelotemp_cmpr_p_diff, li1, 6.25, 4.55, 0.3, 3.7, 1, 3, 0, 4)
R(lelotemp_cmpr_p_diff, li1, [(3.85,1.2,4.15,4.25), (6.25,2.8,6.55,4.25), (0.18,16.55,0.48,24.2), (6.25,16.55,6.55,16.8), (1.76,18.6,5.28,19), (1.76,19,2.06,23), (2.4,20.2,5.92,20.6), (6.24,20.6,6.56,21), (-0.48,24.2,0.48,24.6), (2.4,24.2,5.92,24.6), (6.24,24.6,6.56,25)])
A(lelotemp_cmpr_p_diff, psdm, 2.275, 6.325, 3.13, 0.15, 1, 5, 0, 4)
R(lelotemp_cmpr_p_diff, boundary, [(0,0,8,28.8)])
lelotemp_cmpr_p_diff.add(gdstk.Reference(reyatr_lvt_pch_8c5f0d, (0,2.4)))
lelotemp_cmpr_p_diff.add(gdstk.Reference(reyatr_lvt_pch_8c5f0d, (0,6.4)))
lelotemp_cmpr_p_diff.add(gdstk.Reference(reyatr_lvt_pch_8c5f0d, (0,10.4)))
lelotemp_cmpr_p_diff.add(gdstk.Reference(reyatr_lvt_pch_8c5f0d, (0,14.4)))
lelotemp_cmpr_p_diff.add(gdstk.Reference(reyatr_lvt_pch_8c5f0, (0,18.4)))
lelotemp_cmpr_p_diff.add(gdstk.Reference(reyatr_lvt_pch_8c5f0, (0,22.4)))
lelotemp_cmpr_p_diff.add(gdstk.Reference(reyatr_pch_8ctapbot, (0,0)))
lelotemp_cmpr_p_diff.add(gdstk.Reference(reyatr_pch_8ctaptop, (0,26.4)))
lelotemp_cmpr_p_diff.add(gdstk.Label('VBN1', (4.16,20.4), layer=67, texttype=5))
lelotemp_cmpr_p_diff.add(gdstk.Label('VDD_1V8', (0,24.4), layer=67, texttype=5))
lelotemp_cmpr_p_diff.add(gdstk.Label('VIN', (6.4,20.8), layer=67, texttype=5))
lelotemp_cmpr_p_diff.add(gdstk.Label('VIP', (6.4,24.8), layer=67, texttype=5))
lelotemp_cmpr_p_diff.add(gdstk.Label('VO1', (4.16,24.4), layer=67, texttype=5))
lelotemp_cmpr_p_diff.add(gdstk.Label('VS', (3.52,18.8), layer=67, texttype=5))

reyatr_pch_2c5f0d = lib.new_cell('REYATR_PCH_2C5F0D')
R(reyatr_pch_2c5f0d, nwell, [(-0.92,-0.64,8.92,4.64)])
R(reyatr_pch_2c5f0d, diff, [(3.36,0.2,4.32,3.8)])
R(reyatr_pch_2c5f0d, tap, [(-0.48,-0.2,0.48,4.2), (7.52,-0.2,8.48,4.2)])
R(reyatr_pch_2c5f0d, poly, [(2.08,-0.11,5.6,0.11), (2.08,0.73,5.6,1.67), (2.08,1.67,2.4,2.33), (5.28,1.67,5.6,2.33), (2.08,2.33,5.6,3.27), (2.08,3.89,5.6,4.11)])
A(reyatr_pch_2c5f0d, licon, 3.585, 0.315, 0.17, 0.17, 1, 3, 0, 1.6)
A(reyatr_pch_2c5f0d, licon, 3.925, 0.315, 0.17, 0.17, 1, 3, 0, 1.6)
A(reyatr_pch_2c5f0d, licon, -0.085, 1.065, 0.17, 0.17, 1, 6, 0, 0.34)
A(reyatr_pch_2c5f0d, licon, 7.915, 1.065, 0.17, 0.17, 1, 6, 0, 0.34)
A(reyatr_pch_2c5f0d, licon, 2.155, 1.575, 0.17, 0.17, 1, 3, 0, 0.34)
A(reyatr_pch_2c5f0d, licon, 5.355, 1.575, 0.17, 0.17, 1, 3, 0, 0.34)
R(reyatr_pch_2c5f0d, li1_pin, [(2.72,0.2,4.32,0.6), (-0.48,1.8,0.48,2.2), (3.36,1.8,5.6,2.2), (5.28,2.2,5.6,2.6)])
R(reyatr_pch_2c5f0d, li1, [(-0.48,-0.2,0.48,4.2), (7.52,-0.2,8.48,4.2), (2.72,0.2,4.32,0.6), (2.72,0.6,3.04,3.4), (2.08,1.4,2.4,2.6), (5.28,1.4,5.6,1.8), (3.36,1.8,5.6,2.2), (5.28,2.2,5.6,2.6), (2.72,3.4,4.32,3.8)])
R(reyatr_pch_2c5f0d, nsdm, [(-0.605,-0.325,0.605,4.325), (7.395,-0.325,8.605,4.325)])
R(reyatr_pch_2c5f0d, psdm, [(3.235,0.075,4.445,3.925)])
R(reyatr_pch_2c5f0d, npc, [(2.055,1.475,2.425,2.525), (5.255,1.475,5.625,2.525)])
R(reyatr_pch_2c5f0d, boundary, [(0,0,8,4)])
reyatr_pch_2c5f0d.add(gdstk.Label('D', (4.48,2), layer=67, texttype=5))
reyatr_pch_2c5f0d.add(gdstk.Label('G', (5.44,2.4), layer=67, texttype=5))
reyatr_pch_2c5f0d.add(gdstk.Label('S', (3.52,0.4), layer=67, texttype=5))
reyatr_pch_2c5f0d.add(gdstk.Label('B', (0,2), layer=67, texttype=5))

reyatr_pch_2c5f0 = lib.new_cell('REYATR_PCH_2C5F0')
R(reyatr_pch_2c5f0, nwell, [(-0.92,-0.64,8.92,4.64)])
R(reyatr_pch_2c5f0, diff, [(3.36,0.2,4.32,3.8)])
R(reyatr_pch_2c5f0, tap, [(-0.48,-0.2,0.48,4.2), (7.52,-0.2,8.48,4.2)])
R(reyatr_pch_2c5f0, poly, [(2.08,-0.11,5.6,0.11), (2.08,0.73,5.6,1.67), (2.08,1.67,2.4,2.33), (5.28,1.67,5.6,2.33), (2.08,2.33,5.6,3.27), (2.08,3.89,5.6,4.11)])
A(reyatr_pch_2c5f0, licon, 3.585, 0.315, 0.17, 0.17, 1, 3, 0, 1.6)
A(reyatr_pch_2c5f0, licon, 3.925, 0.315, 0.17, 0.17, 1, 3, 0, 1.6)
A(reyatr_pch_2c5f0, licon, -0.085, 1.065, 0.17, 0.17, 1, 6, 0, 0.34)
A(reyatr_pch_2c5f0, licon, 7.915, 1.065, 0.17, 0.17, 1, 6, 0, 0.34)
A(reyatr_pch_2c5f0, licon, 2.155, 1.575, 0.17, 0.17, 1, 3, 0, 0.34)
A(reyatr_pch_2c5f0, licon, 5.355, 1.575, 0.17, 0.17, 1, 3, 0, 0.34)
R(reyatr_pch_2c5f0, li1_pin, [(2.72,0.2,4.32,0.6), (-0.48,1.8,0.48,2.2), (3.36,1.8,4.96,2.2), (5.28,2.2,5.6,2.6)])
R(reyatr_pch_2c5f0, li1, [(-0.48,-0.2,0.48,4.2), (7.52,-0.2,8.48,4.2), (2.72,0.2,4.32,0.6), (2.72,0.6,3.04,3.4), (2.08,1.4,2.4,2.6), (5.28,1.4,5.6,2.6), (3.36,1.8,4.96,2.2), (2.72,3.4,4.32,3.8)])
R(reyatr_pch_2c5f0, nsdm, [(-0.605,-0.325,0.605,4.325), (7.395,-0.325,8.605,4.325)])
R(reyatr_pch_2c5f0, psdm, [(3.235,0.075,4.445,3.925)])
R(reyatr_pch_2c5f0, npc, [(2.055,1.475,2.425,2.525), (5.255,1.475,5.625,2.525)])
R(reyatr_pch_2c5f0, boundary, [(0,0,8,4)])
reyatr_pch_2c5f0.add(gdstk.Label('D', (4.16,2), layer=67, texttype=5))
reyatr_pch_2c5f0.add(gdstk.Label('G', (5.44,2.4), layer=67, texttype=5))
reyatr_pch_2c5f0.add(gdstk.Label('S', (3.52,0.4), layer=67, texttype=5))
reyatr_pch_2c5f0.add(gdstk.Label('B', (0,2), layer=67, texttype=5))

reyatr_pch_2ctapbot = lib.new_cell('REYATR_PCH_2CTAPBOT')
R(reyatr_pch_2ctapbot, nwell, [(-0.92,-0.64,8.92,3.04)])
R(reyatr_pch_2ctapbot, tap, [(-0.48,0.6,8.48,1.8), (-0.48,1.8,0.48,2.6), (7.52,1.8,8.48,2.6)])
A(reyatr_pch_2ctapbot, licon, 0.865, 1.115, 0.17, 0.17, 18, 1, 0.34, 0)
R(reyatr_pch_2ctapbot, li1_5, [(-0.48,1.4,8.48,1.8)])
R(reyatr_pch_2ctapbot, li1, [(-0.48,0.6,8.48,1.8), (-0.48,1.8,0.48,2.6), (7.52,1.8,8.48,2.6)])
R(reyatr_pch_2ctapbot, nsdm, [(-0.605,0.475,8.605,1.925), (-0.605,1.925,0.605,2.725), (7.395,1.925,8.605,2.725)])
R(reyatr_pch_2ctapbot, boundary, [(0,0,8,2.4)])
reyatr_pch_2ctapbot.add(gdstk.Label('B', (4,1.6), layer=67, texttype=5))

reyatr_pch_2ctaptop = lib.new_cell('REYATR_PCH_2CTAPTOP')
R(reyatr_pch_2ctaptop, nwell, [(-0.92,-0.64,8.92,3.04)])
R(reyatr_pch_2ctaptop, tap, [(-0.48,-0.2,0.48,0.6), (7.52,-0.2,8.48,0.6), (-0.48,0.6,8.48,1.8)])
A(reyatr_pch_2ctaptop, licon, 0.855, 1.115, 0.17, 0.17, 19, 1, 0.34, 0)
R(reyatr_pch_2ctaptop, li1_5, [(-0.48,1.4,8.48,1.8)])
R(reyatr_pch_2ctaptop, li1, [(-0.48,-0.2,0.48,0.6), (7.52,-0.2,8.48,0.6), (-0.48,0.6,8.48,1.8)])
R(reyatr_pch_2ctaptop, nsdm, [(-0.605,-0.325,0.605,0.475), (7.395,-0.325,8.605,0.475), (-0.605,0.475,8.605,1.925)])
R(reyatr_pch_2ctaptop, boundary, [(0,0,8,2.4)])
reyatr_pch_2ctaptop.add(gdstk.Label('B', (4,1.6), layer=67, texttype=5))

lelotemp_cmpr_p_mirr_tai = lib.new_cell('LELOTEMP_CMPR_P_MIRR_TAIL')
R(lelotemp_cmpr_p_mirr_tai, li1_pin, [(5.28,4.6,5.6,5), (3.36,8.2,5.6,8.6), (3.36,12.2,4.96,12.6), (-0.48,24.2,0.48,24.6), (3.36,24.2,4.96,24.6)])
A(lelotemp_cmpr_p_mirr_tai, li1, 0, 2.6, 3.52, 0.4, 1, 6, 0, 4)
R(lelotemp_cmpr_p_mirr_tai, li1, [(4.66,4.4,4.96,8.2), (5.28,4.6,5.6,5), (3.36,8.2,5.6,8.6), (4.66,8.6,4.96,8.8), (5.29,8.6,5.59,24.8), (3.36,12.2,4.96,12.6), (4.66,12.6,4.96,20.6), (-0.48,24.2,0.48,24.6), (3.36,24.2,4.96,24.6)])
A(lelotemp_cmpr_p_mirr_tai, psdm, 3.235, 6.325, 1.21, 0.15, 1, 5, 0, 4)
R(lelotemp_cmpr_p_mirr_tai, boundary, [(0,0,8,28.8)])
lelotemp_cmpr_p_mirr_tai.add(gdstk.Reference(reyatr_pch_2c5f0d, (0,6.4)))
lelotemp_cmpr_p_mirr_tai.add(gdstk.Reference(reyatr_pch_2c5f0, (0,2.4)))
lelotemp_cmpr_p_mirr_tai.add(gdstk.Reference(reyatr_pch_2c5f0, (0,10.4)))
lelotemp_cmpr_p_mirr_tai.add(gdstk.Reference(reyatr_pch_2c5f0, (0,14.4)))
lelotemp_cmpr_p_mirr_tai.add(gdstk.Reference(reyatr_pch_2c5f0, (0,18.4)))
lelotemp_cmpr_p_mirr_tai.add(gdstk.Reference(reyatr_pch_2c5f0, (0,22.4)))
lelotemp_cmpr_p_mirr_tai.add(gdstk.Reference(reyatr_pch_2ctapbot, (0,0)))
lelotemp_cmpr_p_mirr_tai.add(gdstk.Reference(reyatr_pch_2ctaptop, (0,26.4)))
lelotemp_cmpr_p_mirr_tai.add(gdstk.Label('PWRUP_1V8', (5.44,4.8), layer=67, texttype=5))
lelotemp_cmpr_p_mirr_tai.add(gdstk.Label('VBP2', (4.48,8.4), layer=67, texttype=5))
lelotemp_cmpr_p_mirr_tai.add(gdstk.Label('VDD_1V8', (0,24.4), layer=67, texttype=5))
lelotemp_cmpr_p_mirr_tai.add(gdstk.Label('VO', (4.16,24.4), layer=67, texttype=5))
lelotemp_cmpr_p_mirr_tai.add(gdstk.Label('VS', (4.16,12.4), layer=67, texttype=5))

lelotemp_cmpr = lib.new_cell('LELOTEMP_CMPR')
R(lelotemp_cmpr, li1_pin, [(0.48,0,34.96,0.9), (3.84,5.7,5.44,6.1), (5.76,6.1,6.08,6.5), (31.76,6.1,32.08,6.5), (11.84,13.7,13.44,14.1), (13.76,14.1,14.08,14.5), (24.72,22.1,25.04,22.5), (11.84,33.7,13.44,34.1), (0.48,38.9,34.96,39.8)])
R(lelotemp_cmpr, li1, [(0,0,34.96,0.9), (0,0.9,0.96,6.1), (8,0.9,8.96,6.1), (3.84,5.7,5.44,6.1), (5.75,5.86,6.07,6.1), (5.75,6.1,6.08,6.5), (31.76,6.1,32.08,6.5), (5.75,6.5,6.07,6.7), (30.52,9.73,31.36,10.05), (13.73,9.82,14.05,10.66), (12.47,13.46,12.79,13.7), (11.84,13.7,13.44,14.1), (4.2,13.73,5.04,14.05), (30.2,13.73,31.04,14.05), (12.47,14.1,12.79,14.3), (13.76,14.1,14.08,14.5), (21.56,20.13,22.4,20.45), (12.52,21.73,13.36,22.05), (22.2,21.73,23.04,22.05), (24.72,22.1,25.04,22.5), (18,25.7,18.96,38.9), (26,25.7,26.96,38.9), (22.2,25.73,23.04,26.05), (30.2,25.73,31.04,26.05), (24.71,25.86,25.03,26.7), (13.72,29.89,14.56,30.21), (11.84,33.7,13.44,34.1), (0.48,38.9,34.96,39.8)])
R(lelotemp_cmpr, mcon, [(5.825,5.965,5.995,6.135), (5.825,6.425,5.995,6.595), (30.625,9.805,30.795,9.975), (31.085,9.805,31.255,9.975), (13.805,9.925,13.975,10.095), (13.805,10.385,13.975,10.555), (12.545,13.565,12.715,13.735), (4.305,13.805,4.475,13.975), (4.765,13.805,4.935,13.975), (30.305,13.805,30.475,13.975), (30.765,13.805,30.935,13.975), (12.545,14.025,12.715,14.195), (21.665,20.205,21.835,20.375), (22.125,20.205,22.295,20.375), (12.625,21.805,12.795,21.975), (13.085,21.805,13.255,21.975), (22.305,21.805,22.475,21.975), (22.765,21.805,22.935,21.975), (22.305,25.805,22.475,25.975), (22.765,25.805,22.935,25.975), (30.305,25.805,30.475,25.975), (30.765,25.805,30.935,25.975), (24.785,25.965,24.955,26.135), (24.785,26.425,24.955,26.595), (13.825,29.965,13.995,30.135), (14.285,29.965,14.455,30.135), (12.305,33.805,12.475,33.975), (12.765,33.805,12.935,33.975)])
R(lelotemp_cmpr, met1, [(5.75,5.86,6.09,6.74), (5.77,6.74,6.07,9.86), (4.2,9.13,5.08,9.47), (30.52,9.13,31.4,9.47), (4.49,9.47,4.79,13.73), (30.81,9.47,31.11,9.73), (30.52,9.73,31.4,10.07), (13.73,9.82,14.07,10.7), (5.75,9.86,6.09,10.74), (12.47,13.46,12.81,14.34), (4.2,13.73,5.08,14.07), (21.56,13.73,22.44,14.07), (30.2,13.73,31.08,14.07), (21.85,14.07,22.15,20.13), (21.56,20.13,22.44,20.47), (12.52,21.73,13.4,22.07), (22.2,21.73,23.08,22.07), (13.48,25.73,14.36,26.07), (22.2,25.73,23.08,26.07), (30.2,25.73,31.08,26.07), (24.71,25.86,25.05,26.74), (13.77,26.07,14.07,29.89), (30.49,26.07,30.79,35.53), (13.72,29.89,14.6,30.23), (13.77,30.23,14.07,30.3), (12.2,33.73,13.08,34.07), (12.49,34.07,12.79,35.53), (12.2,35.53,13.08,35.87), (30.2,35.53,31.08,35.87)])
R(lelotemp_cmpr, via, [(4.325,9.225,4.475,9.375), (4.805,9.225,4.955,9.375), (30.645,9.225,30.795,9.375), (31.125,9.225,31.275,9.375), (13.825,9.945,13.975,10.095), (5.845,9.985,5.995,10.135), (13.825,10.425,13.975,10.575), (5.845,10.465,5.995,10.615), (12.565,13.585,12.715,13.735), (21.685,13.825,21.835,13.975), (22.165,13.825,22.315,13.975), (30.325,13.825,30.475,13.975), (30.805,13.825,30.955,13.975), (12.565,14.065,12.715,14.215), (12.645,21.825,12.795,21.975), (13.125,21.825,13.275,21.975), (22.325,21.825,22.475,21.975), (22.805,21.825,22.955,21.975), (13.605,25.825,13.755,25.975), (14.085,25.825,14.235,25.975), (22.325,25.825,22.475,25.975), (22.805,25.825,22.955,25.975), (24.805,25.985,24.955,26.135), (24.805,26.465,24.955,26.615), (12.325,35.625,12.475,35.775), (12.805,35.625,12.955,35.775), (30.325,35.625,30.475,35.775), (30.805,35.625,30.955,35.775)])
R(lelotemp_cmpr, met2, [(4.2,9.13,5.08,9.15), (30.52,9.13,31.4,9.15), (4.2,9.15,31.4,9.45), (4.2,9.45,5.08,9.47), (30.52,9.45,31.4,9.47), (13.73,9.82,14.07,10.15), (5.75,9.86,6.09,10.15), (5.75,10.15,14.07,10.45), (5.75,10.45,6.09,10.74), (13.73,10.45,14.07,10.7), (12.45,13.42,12.79,13.46), (12.45,13.46,12.81,14.3), (21.56,13.73,22.44,13.75), (30.2,13.73,31.08,13.75), (21.56,13.75,31.08,14.05), (21.56,14.05,22.44,14.07), (30.2,14.05,31.08,14.07), (12.47,14.3,12.81,14.34), (12.52,21.73,13.4,21.75), (22.2,21.73,23.08,21.75), (12.52,21.75,23.08,22.05), (12.52,22.05,13.4,22.07), (22.2,22.05,23.08,22.07), (13.48,25.73,14.36,25.75), (22.2,25.73,23.08,25.75), (13.48,25.75,23.08,26.05), (24.69,25.82,25.03,25.86), (24.69,25.86,25.05,26.74), (13.48,26.05,14.36,26.07), (22.2,26.05,23.08,26.07), (12.45,26.42,12.79,26.75), (24.69,26.74,25.03,26.75), (12.45,26.75,25.03,27.05), (12.45,27.05,12.79,27.3), (24.69,27.05,25.03,27.3), (12.2,35.53,13.08,35.55), (30.2,35.53,31.08,35.55), (12.2,35.55,31.08,35.85), (12.2,35.85,13.08,35.87), (30.2,35.85,31.08,35.87)])
A(lelotemp_cmpr, via2, 24.76, 25.92, 0.2, 0.2, 1, 3, 0, 0.54)
R(lelotemp_cmpr, via2, [(12.52,13.52,12.72,13.72), (12.52,14,12.72,14.2), (12.52,26.52,12.72,26.72), (12.52,27,12.72,27.2)])
R(lelotemp_cmpr, met3, [(12.45,13.42,12.83,14.38), (12.49,14.38,12.79,26.42), (24.69,25.82,25.07,27.38), (12.45,26.42,12.83,27.38)])
R(lelotemp_cmpr, boundary, [(0,0,34.96,39.8)])
lelotemp_cmpr.add(gdstk.Reference(lelotemp_cmpr_n_mirr_bia, (0.48,1.5)))
lelotemp_cmpr.add(gdstk.Reference(lelotemp_cmpr_n_mirr_loa, (8.48,1.5)))
lelotemp_cmpr.add(gdstk.Reference(lelotemp_cmpr_p_diff, (18.48,1.5)))
lelotemp_cmpr.add(gdstk.Reference(lelotemp_cmpr_p_mirr_tai, (26.48,1.5)))
lelotemp_cmpr.add(gdstk.Label('VDD_1V8', (17.72,39.35), layer=67, texttype=5))
lelotemp_cmpr.add(gdstk.Label('VIP', (12.64,13.9), layer=67, texttype=5))
lelotemp_cmpr.add(gdstk.Label('VO', (12.64,33.9), layer=67, texttype=5))
lelotemp_cmpr.add(gdstk.Label('VIN', (24.88,22.3), layer=67, texttype=5))
lelotemp_cmpr.add(gdstk.Label('VSS', (17.72,0.45), layer=67, texttype=5))
lelotemp_cmpr.add(gdstk.Label('PWRUP_1V8', (31.92,6.3), layer=67, texttype=5))
lelotemp_cmpr.add(gdstk.Label('PWRUP_N_1V8', (5.92,6.3), layer=67, texttype=5))
lelotemp_cmpr.add(gdstk.Label('IBP_1U', (4.64,5.9), layer=67, texttype=5))
lelotemp_cmpr.add(gdstk.Label('RST', (13.92,14.3), layer=67, texttype=5))

lelotemp_ccmpr_cmp = lib.new_cell('LELOTEMP_CCMPR_CMP')
R(lelotemp_ccmpr_cmp, li1_pin, [(0.48,0,34.96,0.9), (3.84,5.7,5.44,6.1), (5.76,6.1,6.08,6.5), (31.76,6.1,32.08,6.5), (11.84,13.7,13.44,14.1), (13.76,14.1,14.08,14.5), (24.72,22.1,25.04,22.5), (11.84,33.7,13.44,34.1), (0.48,38.9,34.96,39.8)])
R(lelotemp_ccmpr_cmp, li1, [(0.48,0,34.96,0.9), (3.84,5.7,5.44,6.1), (5.76,6.1,6.08,6.5), (31.76,6.1,32.08,6.5), (11.84,13.7,13.44,14.1), (13.76,14.1,14.08,14.5), (24.72,22.1,25.04,22.5), (11.84,33.7,13.44,34.1), (0.48,38.9,34.96,39.8)])
R(lelotemp_ccmpr_cmp, boundary, [(0,0,34.96,39.8)])
lelotemp_ccmpr_cmp.add(gdstk.Reference(lelotemp_cmpr, (0,0)))
lelotemp_ccmpr_cmp.add(gdstk.Label('CMPO', (12.64,33.9), layer=67, texttype=5))
lelotemp_ccmpr_cmp.add(gdstk.Label('IBP_1U<0>', (12.64,13.9), layer=67, texttype=5))
lelotemp_ccmpr_cmp.add(gdstk.Label('IBP_1U<1>', (4.64,5.9), layer=67, texttype=5))
lelotemp_ccmpr_cmp.add(gdstk.Label('PWRUP_B_1V8', (31.92,6.3), layer=67, texttype=5))
lelotemp_ccmpr_cmp.add(gdstk.Label('PWRUP_N_1V8', (5.92,6.3), layer=67, texttype=5))
lelotemp_ccmpr_cmp.add(gdstk.Label('RST', (13.92,14.3), layer=67, texttype=5))
lelotemp_ccmpr_cmp.add(gdstk.Label('VC', (24.88,22.3), layer=67, texttype=5))
lelotemp_ccmpr_cmp.add(gdstk.Label('VDD_1V8', (17.72,39.35), layer=67, texttype=5))
lelotemp_ccmpr_cmp.add(gdstk.Label('VSS', (17.72,0.45), layer=67, texttype=5))

lelotemp_ccmpr = lib.new_cell('LELOTEMP_CCMPR')
R(lelotemp_ccmpr, li1_pin, [(0,0,35,0.9), (0,50.2,35,51.1)])
R(lelotemp_ccmpr, li1, [(0,0,35,0.9), (0.48,0.9,34.96,10.7), (4.47,15.26,4.79,16.1), (5.75,15.66,6.07,16.5), (31.75,15.66,32.07,16.5), (13.75,23.66,14.07,24.5), (24.71,31.66,25.03,32.5), (12.23,43.5,12.55,44.34), (0.48,48.7,34.96,50.2), (0,50.2,35,51.1)])
R(lelotemp_ccmpr, mcon, [(2.325,0.105,2.495,0.275), (2.785,0.105,2.955,0.275), (2.325,0.565,2.495,0.735), (2.785,0.565,2.955,0.735), (4.545,15.365,4.715,15.535), (5.825,15.765,5.995,15.935), (31.825,15.765,31.995,15.935), (4.545,15.825,4.715,15.995), (5.825,16.225,5.995,16.395), (31.825,16.225,31.995,16.395), (13.825,23.765,13.995,23.935), (13.825,24.225,13.995,24.395), (24.785,31.765,24.955,31.935), (24.785,32.225,24.955,32.395), (12.305,43.605,12.475,43.775), (12.305,44.065,12.475,44.235)])
R(lelotemp_ccmpr, met1_pin, [(26.4,0,26.72,0.4), (10,50.7,10.32,51.1), (17,50.7,17.32,51.1)])
R(lelotemp_ccmpr, met1, [(2.22,0,3.1,0.88), (26.4,0,26.72,0.4), (26.41,0.4,26.71,31.66), (4.47,15.26,4.81,16.14), (5.75,15.66,6.09,16.54), (31.75,15.66,32.09,16.54), (13.75,23.66,14.09,24.54), (16.99,23.66,17.33,24.54), (17.01,24.54,17.31,50.7), (24.71,31.66,25.05,32.54), (26.39,31.66,26.73,32.54), (9.99,43.26,10.33,44.14), (12.47,43.26,12.81,43.5), (12.23,43.5,12.81,44.14), (10.01,44.14,10.31,50.7), (12.23,44.14,12.57,44.38), (10,50.7,10.32,51.1), (17,50.7,17.32,51.1)])
R(lelotemp_ccmpr, via, [(2.345,0.125,2.495,0.275), (2.825,0.125,2.975,0.275), (2.345,0.605,2.495,0.755), (2.825,0.605,2.975,0.755), (4.565,15.385,4.715,15.535), (5.845,15.785,5.995,15.935), (31.845,15.785,31.995,15.935), (4.565,15.865,4.715,16.015), (5.845,16.265,5.995,16.415), (31.845,16.265,31.995,16.415), (13.845,23.785,13.995,23.935), (17.085,23.785,17.235,23.935), (13.845,24.265,13.995,24.415), (17.085,24.265,17.235,24.415), (24.805,31.785,24.955,31.935), (26.485,31.785,26.635,31.935), (24.805,32.265,24.955,32.415), (26.485,32.265,26.635,32.415), (10.085,43.385,10.235,43.535), (12.565,43.385,12.715,43.535), (10.085,43.865,10.235,44.015), (12.565,43.865,12.715,44.015)])
R(lelotemp_ccmpr, met2_pin, [(5.52,15.9,6.32,16.3), (31.52,15.9,32.32,16.3), (0,17.9,0.4,18.24)])
R(lelotemp_ccmpr, met2, [(2.22,0,3.1,0.88), (4.47,15.26,4.81,16.14), (5.75,15.66,6.09,15.9), (31.75,15.66,32.09,15.9), (5.52,15.9,6.32,16.3), (31.52,15.9,32.32,16.3), (4.49,16.14,4.79,17.92), (5.75,16.3,6.09,16.54), (31.75,16.3,32.09,16.54), (0,17.9,0.4,17.92), (0,17.92,4.79,18.22), (0,18.22,0.4,18.24), (13.75,23.66,14.09,23.95), (16.99,23.66,17.33,23.95), (13.75,23.95,17.33,24.25), (13.75,24.25,14.09,24.54), (16.99,24.25,17.33,24.54), (24.71,31.66,25.05,31.95), (26.39,31.66,26.73,31.95), (24.71,31.95,26.73,32.25), (24.71,32.25,25.05,32.54), (26.39,32.25,26.73,32.54), (9.99,43.26,10.33,43.55), (12.47,43.26,12.81,43.55), (9.99,43.55,12.81,43.85), (9.99,43.85,10.33,44.14), (12.47,43.85,12.81,44.14)])
R(lelotemp_ccmpr, via2, [(2.32,0.1,2.52,0.3), (2.8,0.1,3,0.3), (2.32,0.58,2.52,0.78), (2.8,0.58,3,0.78)])
R(lelotemp_ccmpr, met3_pin, [(0,2.4,0.6,2.9)])
R(lelotemp_ccmpr, met3, [(2.22,0,3.18,0.96), (0,2.4,0.6,2.9), (2.7,2.5,12.79,2.8), (12.49,2.8,12.79,23.85)])
R(lelotemp_ccmpr, via3, [(2.34,0.12,2.54,0.32), (2.86,0.12,3.06,0.32), (2.34,0.64,2.54,0.84), (2.86,0.64,3.06,0.84)])
R(lelotemp_ccmpr, met4, [(0,0,5.4,2.9)])
R(lelotemp_ccmpr, boundary, [(0,0,35,51.1)])
lelotemp_ccmpr.add(gdstk.Reference(lelotemp_ccmpr_caps, (0,2.4)))
lelotemp_ccmpr.add(gdstk.Reference(lelotemp_ccmpr_cmp, (0,9.8)))
lelotemp_ccmpr.add(gdstk.Label('IBP_1U<1>', (0.2,18.07), layer=69, texttype=5))
lelotemp_ccmpr.add(gdstk.Label('IBP_1U<0>', (0.3,2.65), layer=70, texttype=5))
lelotemp_ccmpr.add(gdstk.Label('VDD_1V8', (17.5,50.65), layer=67, texttype=5))
lelotemp_ccmpr.add(gdstk.Label('PWRUP_N_1V8', (5.92,16.1), layer=69, texttype=5))
lelotemp_ccmpr.add(gdstk.Label('PWRUP_B_1V8', (31.92,16.1), layer=69, texttype=5))
lelotemp_ccmpr.add(gdstk.Label('CMPO', (10.16,50.9), layer=68, texttype=5))
lelotemp_ccmpr.add(gdstk.Label('VC', (26.56,0.2), layer=68, texttype=5))
lelotemp_ccmpr.add(gdstk.Label('RST', (17.16,50.9), layer=68, texttype=5))
lelotemp_ccmpr.add(gdstk.Label('VSS', (17.5,0.45), layer=67, texttype=5))

lib.write_gds('LELOTEMP_CCMPR.gds')
